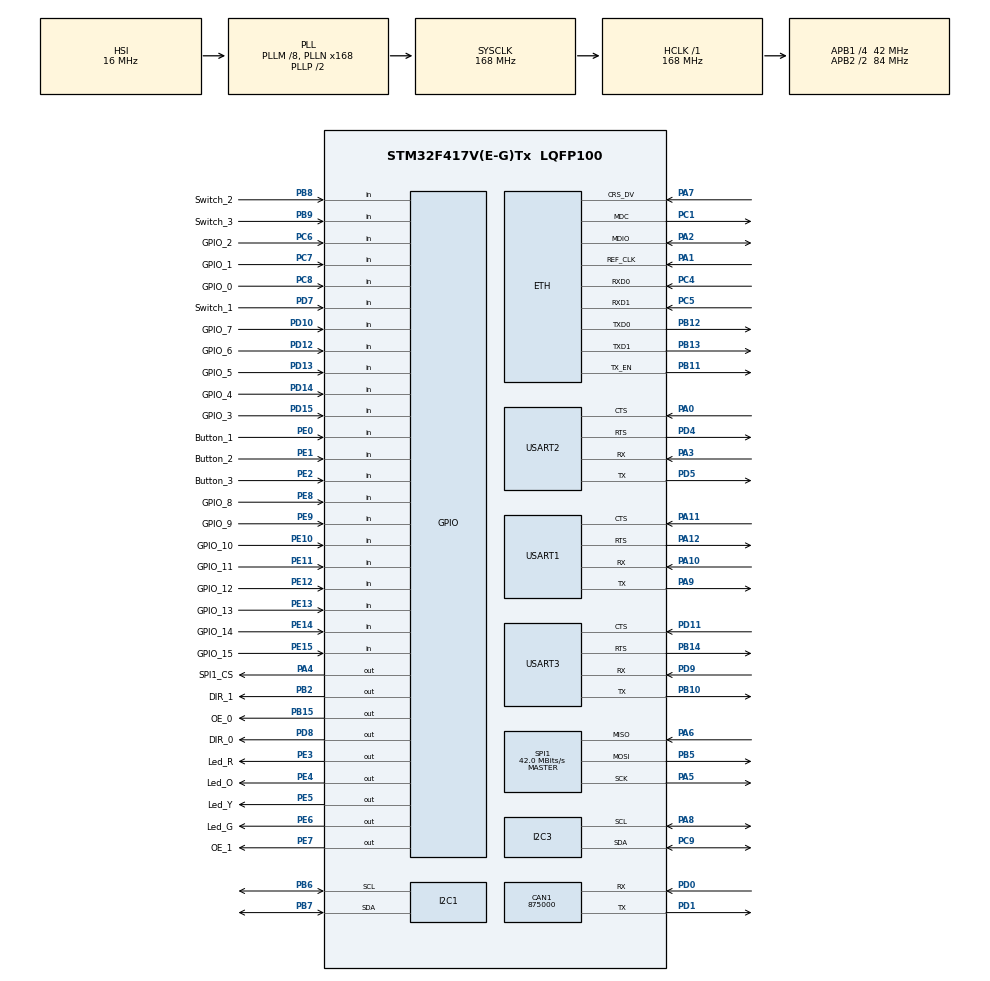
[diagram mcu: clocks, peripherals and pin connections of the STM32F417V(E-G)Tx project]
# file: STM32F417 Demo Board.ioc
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CAN1.CalculateBaudRate=875000
CAN1.CalculateTimeBit=1142
CAN1.CalculateTimeQuantum=380.95238095238096
ETH.MediaInterface=HAL_ETH_RMII_MODE
Mcu.Family=STM32F4
Mcu.Name=STM32F417V(E-G)Tx
Mcu.Package=LQFP100
NVIC.PriorityGroup=NVIC_PRIORITYGROUP_4
PA0-WKUP.Mode=CTS_RTS
PA0-WKUP.Signal=USART2_CTS
PA1.Mode=RMII
PA1.Signal=ETH_REF_CLK
PA10.Mode=Asynchronous
PA10.Signal=USART1_RX
PA11.Mode=CTS_RTS
PA11.Signal=USART1_CTS
PA12.Mode=CTS_RTS
PA12.Signal=USART1_RTS
PA13.Mode=JTAG_5_pins
PA13.Signal=SYS_JTMS-SWDIO
PA14.Mode=JTAG_5_pins
PA14.Signal=SYS_JTCK-SWCLK
PA15.Mode=JTAG_5_pins
PA15.Signal=SYS_JTDI
PA2.Mode=RMII
PA2.Signal=ETH_MDIO
PA3.Mode=Asynchronous
PA3.Signal=USART2_RX
PA4.GPIO_Label=SPI1_CS
PA4.Signal=GPIO_Output
PA5.Mode=Full_Duplex_Master
PA5.Signal=SPI1_SCK
PA6.Mode=Full_Duplex_Master
PA6.Signal=SPI1_MISO
PA7.Mode=RMII
PA7.Signal=ETH_CRS_DV
PA8.Mode=I2C
PA8.Signal=I2C3_SCL
PA9.Mode=Asynchronous
PA9.Signal=USART1_TX
PB10.Mode=Asynchronous
PB10.Signal=USART3_TX
PB11.Mode=RMII
PB11.Signal=ETH_TX_EN
PB12.Mode=RMII
PB12.Signal=ETH_TXD0
PB13.Mode=RMII
PB13.Signal=ETH_TXD1
PB14.Mode=CTS_RTS
PB14.Signal=USART3_RTS
PB15.GPIO_Label=OE_0
PB15.Signal=GPIO_Output
PB2.GPIO_Label=DIR_1
PB2.Signal=GPIO_Output
PB3.Mode=JTAG_5_pins
PB3.Signal=SYS_JTDO-SWO
PB4.Mode=JTAG_5_pins
PB4.Signal=SYS_JTRST
PB5.Mode=Full_Duplex_Master
PB5.Signal=SPI1_MOSI
PB6.Mode=I2C
PB6.Signal=I2C1_SCL
PB7.Mode=I2C
PB7.Signal=I2C1_SDA
PB8.GPIO_Label=Switch_2
PB8.Signal=GPIO_Input
PB9.GPIO_Label=Switch_3
PB9.Signal=GPIO_Input
PC1.Mode=RMII
PC1.Signal=ETH_MDC
PC14-OSC32_IN.Mode=LSE-External-Oscillator
PC14-OSC32_IN.Signal=RCC_OSC32_IN
PC15-OSC32_OUT.Mode=LSE-External-Oscillator
PC15-OSC32_OUT.Signal=RCC_OSC32_OUT
PC4.Mode=RMII
PC4.Signal=ETH_RXD0
PC5.Mode=RMII
PC5.Signal=ETH_RXD1
PC6.GPIO_Label=GPIO_2
PC6.Signal=GPIO_Input
PC7.GPIO_Label=GPIO_1
PC7.Signal=GPIO_Input
PC8.GPIO_Label=GPIO_0
PC8.Signal=GPIO_Input
PC9.Mode=I2C
PC9.Signal=I2C3_SDA
PD0.Mode=CAN_Activate
PD0.Signal=CAN1_RX
PD1.Mode=CAN_Activate
PD1.Signal=CAN1_TX
PD10.GPIO_Label=GPIO_7
PD10.Signal=GPIO_Input
PD11.Mode=CTS_RTS
PD11.Signal=USART3_CTS
PD12.GPIO_Label=GPIO_6
PD12.Signal=GPIO_Input
PD13.GPIO_Label=GPIO_5
PD13.Signal=GPIO_Input
PD14.GPIO_Label=GPIO_4
PD14.Signal=GPIO_Input
PD15.GPIO_Label=GPIO_3
PD15.Signal=GPIO_Input
PD4.Mode=CTS_RTS
PD4.Signal=USART2_RTS
PD5.Mode=Asynchronous
PD5.Signal=USART2_TX
PD7.GPIO_Label=Switch_1
PD7.Signal=GPIO_Input
PD8.GPIO_Label=DIR_0
PD8.Signal=GPIO_Output
PD9.Mode=Asynchronous
PD9.Signal=USART3_RX
PE0.GPIO_Label=Button_1
PE0.Signal=GPIO_Input
PE1.GPIO_Label=Button_2
PE1.Signal=GPIO_Input
PE10.GPIO_Label=GPIO_10
PE10.Signal=GPIO_Input
PE11.GPIO_Label=GPIO_11
PE11.Signal=GPIO_Input
PE12.GPIO_Label=GPIO_12
PE12.Signal=GPIO_Input
PE13.GPIO_Label=GPIO_13
PE13.Signal=GPIO_Input
PE14.GPIO_Label=GPIO_14
PE14.Signal=GPIO_Input
PE15.GPIO_Label=GPIO_15
PE15.Signal=GPIO_Input
PE2.GPIO_Label=Button_3
PE2.Signal=GPIO_Input
PE3.GPIO_Label=Led_R
PE3.Signal=GPIO_Output
PE4.GPIO_Label=Led_O
PE4.Signal=GPIO_Output
PE5.GPIO_Label=Led_Y
PE5.Signal=GPIO_Output
PE6.GPIO_Label=Led_G
PE6.Signal=GPIO_Output
PE7.GPIO_Label=OE_1
PE7.Signal=GPIO_Output
PE8.GPIO_Label=GPIO_8
PE8.Signal=GPIO_Input
PE9.GPIO_Label=GPIO_9
PE9.Signal=GPIO_Input
PH0-OSC_IN.Mode=HSE-External-Oscillator
PH0-OSC_IN.Signal=RCC_OSC_IN
PH1-OSC_OUT.Mode=HSE-External-Oscillator
PH1-OSC_OUT.Signal=RCC_OSC_OUT
ProjectManager.HeapSize=0x200
ProjectManager.StackSize=0x400
ProjectManager.TargetToolchain=STM32CubeIDE
RCC.48MHZClocksFreq_Value=84000000
RCC.AHBFreq_Value=168000000
RCC.APB1CLKDivider=RCC_HCLK_DIV4
RCC.APB1Freq_Value=42000000
RCC.APB1TimFreq_Value=84000000
RCC.APB2CLKDivider=RCC_HCLK_DIV2
RCC.APB2Freq_Value=84000000
RCC.APB2TimFreq_Value=168000000
RCC.CortexFreq_Value=168000000
RCC.HCLKFreq_Value=168000000
RCC.HSE_VALUE=25000000
RCC.HSI_VALUE=16000000
RCC.PLLM=8
RCC.PLLN=168
RCC.SYSCLKFreq_VALUE=168000000
RCC.SYSCLKSource=RCC_SYSCLKSOURCE_PLLCLK
RCC.VCOOutputFreq_Value=336000000
SPI1.CalculateBaudRate=42.0 MBits/s
SPI1.Direction=SPI_DIRECTION_2LINES
SPI1.Mode=SPI_MODE_MASTER
SPI1.VirtualType=VM_MASTER
USART1.VirtualMode=VM_ASYNC
USART2.VirtualMode=VM_ASYNC
USART3.VirtualMode=VM_ASYNC
board=custom

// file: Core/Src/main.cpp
/* USER CODE BEGIN Header */
/**
  ******************************************************************************
  * @file           : main.c
  * @brief          : Main program body
  ******************************************************************************
  * @attention
  *
  * Copyright (c) 2023 STMicroelectronics.
  * All rights reserved.
  *
  * This software is licensed under terms that can be found in the LICENSE file
  * in the root directory of this software component.
  * If no LICENSE file comes with this software, it is provided AS-IS.
  *
  ******************************************************************************
  */
/* USER CODE END Header */
#include "main.h"
#include "string.h"

/* USER CODE BEGIN Includes */
#include "Interfaces/GPIO.h"
#include "Interfaces/I2C.h"
#include "Devices/LCD.h"
/* USER CODE END Includes */

ETH_TxPacketConfig TxConfig;
ETH_DMADescTypeDef  DMARxDscrTab[ETH_RX_DESC_CNT]; /* Ethernet Rx DMA Descriptors */
ETH_DMADescTypeDef  DMATxDscrTab[ETH_TX_DESC_CNT]; /* Ethernet Tx DMA Descriptors */

CAN_HandleTypeDef hcan1;

ETH_HandleTypeDef heth;

I2C_HandleTypeDef hi2c1;
I2C_HandleTypeDef hi2c3;

SPI_HandleTypeDef hspi1;

UART_HandleTypeDef huart1;
UART_HandleTypeDef huart2;
UART_HandleTypeDef huart3;

void SystemClock_Config(void);
static void MX_GPIO_Init(void);
static void MX_CAN1_Init(void);
static void MX_ETH_Init(void);
static void MX_I2C1_Init(void);
static void MX_I2C3_Init(void);
static void MX_SPI1_Init(void);
static void MX_USART1_UART_Init(void);
static void MX_USART2_UART_Init(void);
static void MX_USART3_UART_Init(void);

int main(void)
{

  /* MCU Configuration--------------------------------------------------------*/

  /* Reset of all peripherals, Initializes the Flash interface and the Systick. */
  HAL_Init();

  /* Configure the system clock */
  SystemClock_Config();

  /* Initialize all configured peripherals */
  MX_GPIO_Init();
  MX_CAN1_Init();
  MX_ETH_Init();
  MX_I2C1_Init();
  MX_I2C3_Init();
  MX_SPI1_Init();
  MX_USART1_UART_Init();
  MX_USART2_UART_Init();
  MX_USART3_UART_Init();
  /* USER CODE BEGIN 2 */
  I2C i2c_Lcd(hi2c3);

  GPIO E3(GPIOE, GPIO_PIN_3);
  GPIO E4(GPIOE, GPIO_PIN_4);
  GPIO E5(GPIOE, GPIO_PIN_5);
  GPIO E6(GPIOE, GPIO_PIN_6);
  GPIO & LedRed		= E3;
  GPIO & LedGreen	= E6;

  const std::string firstLine	= " ALTIUM ";
  const std::string secondLine	= "DESIGNER";
  LCD lcd(i2c_Lcd, 0x3C, LedRed, LedGreen);
  lcd.SetCursor(0, 0);
  lcd.Print(firstLine);
  lcd.SetCursor(1, 0);
  lcd.Print(secondLine);

  /* USER CODE END 2 */

  /* Infinite loop */
  while (1)
  {
	  E3.Set();
	  HAL_Delay(250);
	  //E3.Reset();
	  HAL_Delay(250);
	  E4.Set();
	  HAL_Delay(250);
	  //E4.Reset();
	  HAL_Delay(250);
	  E5.Set();
	  HAL_Delay(250);
	  //E5.Reset();
	  HAL_Delay(250);
	  E6.Set();
	  HAL_Delay(250);
	  //E6.Reset();
	  HAL_Delay(250);/**/
  }
}

void SystemClock_Config(void)
{
  RCC_OscInitTypeDef RCC_OscInitStruct = {0};
  RCC_ClkInitTypeDef RCC_ClkInitStruct = {0};

  /** Configure the main internal regulator output voltage
  */
  __HAL_RCC_PWR_CLK_ENABLE();
  __HAL_PWR_VOLTAGESCALING_CONFIG(PWR_REGULATOR_VOLTAGE_SCALE1);

  /** Initializes the RCC Oscillators according to the specified parameters
  * in the RCC_OscInitTypeDef structure.
  */
  RCC_OscInitStruct.OscillatorType = RCC_OSCILLATORTYPE_HSI;
  RCC_OscInitStruct.HSIState = RCC_HSI_ON;
  RCC_OscInitStruct.HSICalibrationValue = RCC_HSICALIBRATION_DEFAULT;
  RCC_OscInitStruct.PLL.PLLState = RCC_PLL_ON;
  RCC_OscInitStruct.PLL.PLLSource = RCC_PLLSOURCE_HSI;
  RCC_OscInitStruct.PLL.PLLM = 8;
  RCC_OscInitStruct.PLL.PLLN = 168;
  RCC_OscInitStruct.PLL.PLLP = RCC_PLLP_DIV2;
  RCC_OscInitStruct.PLL.PLLQ = 4;
  if (HAL_RCC_OscConfig(&RCC_OscInitStruct) != HAL_OK)
  {
    Error_Handler();
  }

  /** Initializes the CPU, AHB and APB buses clocks
  */
  RCC_ClkInitStruct.ClockType = RCC_CLOCKTYPE_HCLK|RCC_CLOCKTYPE_SYSCLK
                              |RCC_CLOCKTYPE_PCLK1|RCC_CLOCKTYPE_PCLK2;
  RCC_ClkInitStruct.SYSCLKSource = RCC_SYSCLKSOURCE_PLLCLK;
  RCC_ClkInitStruct.AHBCLKDivider = RCC_SYSCLK_DIV1;
  RCC_ClkInitStruct.APB1CLKDivider = RCC_HCLK_DIV4;
  RCC_ClkInitStruct.APB2CLKDivider = RCC_HCLK_DIV2;

  if (HAL_RCC_ClockConfig(&RCC_ClkInitStruct, FLASH_LATENCY_5) != HAL_OK)
  {
    Error_Handler();
  }
}

static void MX_CAN1_Init(void)
{

  hcan1.Instance = CAN1;
  hcan1.Init.Prescaler = 16;
  hcan1.Init.Mode = CAN_MODE_NORMAL;
  hcan1.Init.SyncJumpWidth = CAN_SJW_1TQ;
  hcan1.Init.TimeSeg1 = CAN_BS1_1TQ;
  hcan1.Init.TimeSeg2 = CAN_BS2_1TQ;
  hcan1.Init.TimeTriggeredMode = DISABLE;
  hcan1.Init.AutoBusOff = DISABLE;
  hcan1.Init.AutoWakeUp = DISABLE;
  hcan1.Init.AutoRetransmission = DISABLE;
  hcan1.Init.ReceiveFifoLocked = DISABLE;
  hcan1.Init.TransmitFifoPriority = DISABLE;
  if (HAL_CAN_Init(&hcan1) != HAL_OK)
  {
    Error_Handler();
  }

}

static void MX_ETH_Init(void)
{

   static uint8_t MACAddr[6];

  heth.Instance = ETH;
  MACAddr[0] = 0x00;
  MACAddr[1] = 0x80;
  MACAddr[2] = 0xE1;
  MACAddr[3] = 0x00;
  MACAddr[4] = 0x00;
  MACAddr[5] = 0x00;
  heth.Init.MACAddr = &MACAddr[0];
  heth.Init.MediaInterface = HAL_ETH_RMII_MODE;
  heth.Init.TxDesc = DMATxDscrTab;
  heth.Init.RxDesc = DMARxDscrTab;
  heth.Init.RxBuffLen = 1524;

  if (HAL_ETH_Init(&heth) != HAL_OK)
  {
    Error_Handler();
  }

  memset(&TxConfig, 0 , sizeof(ETH_TxPacketConfig));
  TxConfig.Attributes = ETH_TX_PACKETS_FEATURES_CSUM | ETH_TX_PACKETS_FEATURES_CRCPAD;
  TxConfig.ChecksumCtrl = ETH_CHECKSUM_IPHDR_PAYLOAD_INSERT_PHDR_CALC;
  TxConfig.CRCPadCtrl = ETH_CRC_PAD_INSERT;

}

static void MX_I2C1_Init(void)
{

  hi2c1.Instance = I2C1;
  hi2c1.Init.ClockSpeed = 100000;
  hi2c1.Init.DutyCycle = I2C_DUTYCYCLE_2;
  hi2c1.Init.OwnAddress1 = 0;
  hi2c1.Init.AddressingMode = I2C_ADDRESSINGMODE_7BIT;
  hi2c1.Init.DualAddressMode = I2C_DUALADDRESS_DISABLE;
  hi2c1.Init.OwnAddress2 = 0;
  hi2c1.Init.GeneralCallMode = I2C_GENERALCALL_DISABLE;
  hi2c1.Init.NoStretchMode = I2C_NOSTRETCH_DISABLE;
  if (HAL_I2C_Init(&hi2c1) != HAL_OK)
  {
    Error_Handler();
  }

}

static void MX_I2C3_Init(void)
{

  hi2c3.Instance = I2C3;
  hi2c3.Init.ClockSpeed = 100000;
  hi2c3.Init.DutyCycle = I2C_DUTYCYCLE_2;
  hi2c3.Init.OwnAddress1 = 0;
  hi2c3.Init.AddressingMode = I2C_ADDRESSINGMODE_7BIT;
  hi2c3.Init.DualAddressMode = I2C_DUALADDRESS_DISABLE;
  hi2c3.Init.OwnAddress2 = 0;
  hi2c3.Init.GeneralCallMode = I2C_GENERALCALL_DISABLE;
  hi2c3.Init.NoStretchMode = I2C_NOSTRETCH_DISABLE;
  if (HAL_I2C_Init(&hi2c3) != HAL_OK)
  {
    Error_Handler();
  }

}

static void MX_SPI1_Init(void)
{

  /* SPI1 parameter configuration*/
  hspi1.Instance = SPI1;
  hspi1.Init.Mode = SPI_MODE_MASTER;
  hspi1.Init.Direction = SPI_DIRECTION_2LINES;
  hspi1.Init.DataSize = SPI_DATASIZE_8BIT;
  hspi1.Init.CLKPolarity = SPI_POLARITY_LOW;
  hspi1.Init.CLKPhase = SPI_PHASE_1EDGE;
  hspi1.Init.NSS = SPI_NSS_SOFT;
  hspi1.Init.BaudRatePrescaler = SPI_BAUDRATEPRESCALER_2;
  hspi1.Init.FirstBit = SPI_FIRSTBIT_MSB;
  hspi1.Init.TIMode = SPI_TIMODE_DISABLE;
  hspi1.Init.CRCCalculation = SPI_CRCCALCULATION_DISABLE;
  hspi1.Init.CRCPolynomial = 10;
  if (HAL_SPI_Init(&hspi1) != HAL_OK)
  {
    Error_Handler();
  }

}

static void MX_USART1_UART_Init(void)
{

  huart1.Instance = USART1;
  huart1.Init.BaudRate = 115200;
  huart1.Init.WordLength = UART_WORDLENGTH_8B;
  huart1.Init.StopBits = UART_STOPBITS_1;
  huart1.Init.Parity = UART_PARITY_NONE;
  huart1.Init.Mode = UART_MODE_TX_RX;
  huart1.Init.HwFlowCtl = UART_HWCONTROL_RTS_CTS;
  huart1.Init.OverSampling = UART_OVERSAMPLING_16;
  if (HAL_UART_Init(&huart1) != HAL_OK)
  {
    Error_Handler();
  }

}

static void MX_USART2_UART_Init(void)
{

  huart2.Instance = USART2;
  huart2.Init.BaudRate = 115200;
  huart2.Init.WordLength = UART_WORDLENGTH_8B;
  huart2.Init.StopBits = UART_STOPBITS_1;
  huart2.Init.Parity = UART_PARITY_NONE;
  huart2.Init.Mode = UART_MODE_TX_RX;
  huart2.Init.HwFlowCtl = UART_HWCONTROL_RTS_CTS;
  huart2.Init.OverSampling = UART_OVERSAMPLING_16;
  if (HAL_UART_Init(&huart2) != HAL_OK)
  {
    Error_Handler();
  }

}

static void MX_USART3_UART_Init(void)
{

  huart3.Instance = USART3;
  huart3.Init.BaudRate = 115200;
  huart3.Init.WordLength = UART_WORDLENGTH_8B;
  huart3.Init.StopBits = UART_STOPBITS_1;
  huart3.Init.Parity = UART_PARITY_NONE;
  huart3.Init.Mode = UART_MODE_TX_RX;
  huart3.Init.HwFlowCtl = UART_HWCONTROL_RTS_CTS;
  huart3.Init.OverSampling = UART_OVERSAMPLING_16;
  if (HAL_UART_Init(&huart3) != HAL_OK)
  {
    Error_Handler();
  }

}

static void MX_GPIO_Init(void)
{
  GPIO_InitTypeDef GPIO_InitStruct = {0};

  /* GPIO Ports Clock Enable */
  __HAL_RCC_GPIOE_CLK_ENABLE();
  __HAL_RCC_GPIOC_CLK_ENABLE();
  __HAL_RCC_GPIOH_CLK_ENABLE();
  __HAL_RCC_GPIOA_CLK_ENABLE();
  __HAL_RCC_GPIOB_CLK_ENABLE();
  __HAL_RCC_GPIOD_CLK_ENABLE();

  /*Configure GPIO pin Output Level */
  HAL_GPIO_WritePin(GPIOE, Led_R_Pin|Led_O_Pin|Led_Y_Pin|Led_G_Pin
                          |OE_1_Pin, GPIO_PIN_RESET);

  /*Configure GPIO pin Output Level */
  HAL_GPIO_WritePin(SPI1_CS_GPIO_Port, SPI1_CS_Pin, GPIO_PIN_RESET);

  /*Configure GPIO pin Output Level */
  HAL_GPIO_WritePin(GPIOB, DIR_1_Pin|OE_0_Pin, GPIO_PIN_RESET);

  /*Configure GPIO pin Output Level */
  HAL_GPIO_WritePin(DIR_0_GPIO_Port, DIR_0_Pin, GPIO_PIN_RESET);

  /*Configure GPIO pins : Button_3_Pin GPIO_8_Pin GPIO_9_Pin GPIO_10_Pin
                           GPIO_11_Pin GPIO_12_Pin GPIO_13_Pin GPIO_14_Pin
                           GPIO_15_Pin Button_1_Pin Button_2_Pin */
  GPIO_InitStruct.Pin = Button_3_Pin|GPIO_8_Pin|GPIO_9_Pin|GPIO_10_Pin
                          |GPIO_11_Pin|GPIO_12_Pin|GPIO_13_Pin|GPIO_14_Pin
                          |GPIO_15_Pin|Button_1_Pin|Button_2_Pin;
  GPIO_InitStruct.Mode = GPIO_MODE_INPUT;
  GPIO_InitStruct.Pull = GPIO_NOPULL;
  HAL_GPIO_Init(GPIOE, &GPIO_InitStruct);

  /*Configure GPIO pins : Led_R_Pin Led_O_Pin Led_Y_Pin Led_G_Pin
                           OE_1_Pin */
  GPIO_InitStruct.Pin = Led_R_Pin|Led_O_Pin|Led_Y_Pin|Led_G_Pin
                          |OE_1_Pin;
  GPIO_InitStruct.Mode = GPIO_MODE_OUTPUT_PP;
  GPIO_InitStruct.Pull = GPIO_NOPULL;
  GPIO_InitStruct.Speed = GPIO_SPEED_FREQ_LOW;
  HAL_GPIO_Init(GPIOE, &GPIO_InitStruct);

  /*Configure GPIO pin : SPI1_CS_Pin */
  GPIO_InitStruct.Pin = SPI1_CS_Pin;
  GPIO_InitStruct.Mode = GPIO_MODE_OUTPUT_PP;
  GPIO_InitStruct.Pull = GPIO_NOPULL;
  GPIO_InitStruct.Speed = GPIO_SPEED_FREQ_LOW;
  HAL_GPIO_Init(SPI1_CS_GPIO_Port, &GPIO_InitStruct);

  /*Configure GPIO pins : DIR_1_Pin OE_0_Pin */
  GPIO_InitStruct.Pin = DIR_1_Pin|OE_0_Pin;
  GPIO_InitStruct.Mode = GPIO_MODE_OUTPUT_PP;
  GPIO_InitStruct.Pull = GPIO_NOPULL;
  GPIO_InitStruct.Speed = GPIO_SPEED_FREQ_LOW;
  HAL_GPIO_Init(GPIOB, &GPIO_InitStruct);

  /*Configure GPIO pin : DIR_0_Pin */
  GPIO_InitStruct.Pin = DIR_0_Pin;
  GPIO_InitStruct.Mode = GPIO_MODE_OUTPUT_PP;
  GPIO_InitStruct.Pull = GPIO_NOPULL;
  GPIO_InitStruct.Speed = GPIO_SPEED_FREQ_LOW;
  HAL_GPIO_Init(DIR_0_GPIO_Port, &GPIO_InitStruct);

  /*Configure GPIO pins : GPIO_7_Pin GPIO_6_Pin GPIO_5_Pin GPIO_4_Pin
                           GPIO_3_Pin Switch_1_Pin */
  GPIO_InitStruct.Pin = GPIO_7_Pin|GPIO_6_Pin|GPIO_5_Pin|GPIO_4_Pin
                          |GPIO_3_Pin|Switch_1_Pin;
  GPIO_InitStruct.Mode = GPIO_MODE_INPUT;
  GPIO_InitStruct.Pull = GPIO_NOPULL;
  HAL_GPIO_Init(GPIOD, &GPIO_InitStruct);

  /*Configure GPIO pins : GPIO_2_Pin GPIO_1_Pin GPIO_0_Pin */
  GPIO_InitStruct.Pin = GPIO_2_Pin|GPIO_1_Pin|GPIO_0_Pin;
  GPIO_InitStruct.Mode = GPIO_MODE_INPUT;
  GPIO_InitStruct.Pull = GPIO_NOPULL;
  HAL_GPIO_Init(GPIOC, &GPIO_InitStruct);

  /*Configure GPIO pins : Switch_2_Pin Switch_3_Pin */
  GPIO_InitStruct.Pin = Switch_2_Pin|Switch_3_Pin;
  GPIO_InitStruct.Mode = GPIO_MODE_INPUT;
  GPIO_InitStruct.Pull = GPIO_NOPULL;
  HAL_GPIO_Init(GPIOB, &GPIO_InitStruct);

}

void Error_Handler(void)
{
  __disable_irq();
  while (1)
  {
  }
}
